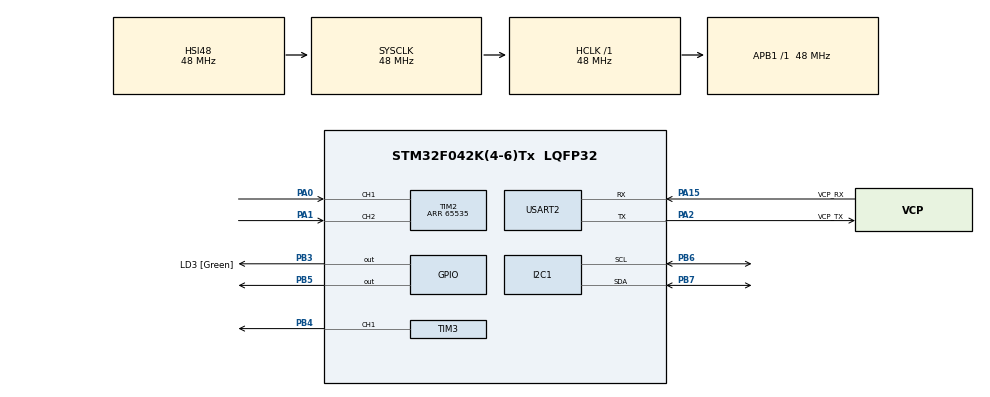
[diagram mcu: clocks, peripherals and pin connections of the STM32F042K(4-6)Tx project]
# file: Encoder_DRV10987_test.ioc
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Mcu.Family=STM32F0
Mcu.Name=STM32F042K(4-6)Tx
Mcu.Package=LQFP32
PA0.Signal=S_TIM2_CH1_ETR
PA1.Signal=S_TIM2_CH2
PA13.GPIO_Label=SWDIO
PA13.Mode=Serial_Wire
PA13.Signal=SYS_SWDIO
PA14.GPIO_Label=SWCLK
PA14.Mode=Serial_Wire
PA14.Signal=SYS_SWCLK
PA15.GPIO_Label=VCP_RX
PA15.Mode=Asynchronous
PA15.Signal=USART2_RX
PA2.GPIO_Label=VCP_TX
PA2.Mode=Asynchronous
PA2.Signal=USART2_TX
PB3.GPIO_Label=LD3 [Green]
PB3.Signal=GPIO_Output
PB4.Signal=S_TIM3_CH1
PB5.Signal=GPIO_Output
PB6.Mode=I2C
PB6.Signal=I2C1_SCL
PB7.Mode=I2C
PB7.Signal=I2C1_SDA
PF0-OSC_IN.GPIO_Label=MCO
PF0-OSC_IN.Mode=HSE-External-Clock-Source
PF0-OSC_IN.Signal=RCC_OSC_IN
ProjectManager.HeapSize=0x200
ProjectManager.StackSize=0x400
ProjectManager.TargetToolchain=SW4STM32
RCC.AHBFreq_Value=48000000
RCC.APB1Freq_Value=48000000
RCC.APB1TimFreq_Value=48000000
RCC.HCLKFreq_Value=48000000
RCC.SYSCLKFreq_VALUE=48000000
RCC.SYSCLKSource=RCC_SYSCLKSOURCE_HSI48
SH.S_TIM2_CH1_ETR.0=TIM2_CH1,Encoder_Interface
SH.S_TIM2_CH2.0=TIM2_CH2,Encoder_Interface
SH.S_TIM3_CH1.0=TIM3_CH1,PWM Generation1 CH1
TIM2.Period=65535
TIM3.Channel-PWM\ Generation1\ CH1=TIM_CHANNEL_1
TIM3.Period=4800
TIM3.Prescaler=0
USART2.VirtualMode-Asynchronous=VM_ASYNC
board=NUCLEO-F042K6

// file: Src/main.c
/* USER CODE BEGIN Header */
/**
  ******************************************************************************
  * @file           : main.c
  * @brief          : Main program body
  ******************************************************************************
  * @attention
  *
  * <h2><center>&copy; Copyright (c) 2019 STMicroelectronics.
  * All rights reserved.</center></h2>
  *
  * This software component is licensed by ST under BSD 3-Clause license,
  * the "License"; You may not use this file except in compliance with the
  * License. You may obtain a copy of the License at:
  *                        opensource.org/licenses/BSD-3-Clause
  *
  ******************************************************************************
  */
/* USER CODE END Header */

#include "main.h"
#include "DRV10987.h"

I2C_HandleTypeDef hi2c1;

TIM_HandleTypeDef htim2;
TIM_HandleTypeDef htim3;

UART_HandleTypeDef huart2;

/* USER CODE BEGIN PV */
uint8_t DRVI2Cadd = 0x52;
uint8_t DIEidadd=0x08;
uint8_t SupVadd=0x05;
uint8_t regBuf[16]={0};

uint8_t confBuf[14]={0};

//#define WORD16(v) ((v) & 0xFF), ((v) >> 8)
#define WORD16(v) ((v) >> 8), ((v) & 0xFF)

//uint8_t configVals[14]={//attempt at manual setup of Bullrunning motor; abandoned because iterating was too slow.
//		WORD16(0b0100000000000111),//Set Rm to 0.0388
//		WORD16(0b0000101000101111),//0x052F),//set Kt value to 0x0A 9mV/Hz - 1000mv/1700rpm/V/60*7PP, 150uS advance time
//		WORD16(0b0000100011011010),//1.6A current in open loop,0.7Vcc/s
//		WORD16(0b0010010010011011),//6.9Hz/s2, 9.2Hz/s, 51Hz open-closed loop ,0.67s align time
//		WORD16(0b1011111110101110),//1.6A on overtemp, all locks enabled, 2A SW limit, 2.8A HWlim
//		WORD16(0b1110110001000000),//PWM input, 50KhZ, 3/2Kt,1/2Ktlim, induc+mechAVS en, AVS-VCC, brk on indres, closed loop, 0.37VCC/s,5% min duty,35V/us
//		WORD16(0b0000000000100101),//Score control 0.5, Dead time 240nS Fill these in from the Datasheet
//
//};

//Configvals from AlexPS's DRV calculator at http://f0319644.xsph.ru/
uint8_t configVals[14]={//Bullrunning
		WORD16(0x169A),//
		WORD16(0x062A),//
		WORD16(0x00D0),//
		WORD16(0x09FB),//
		WORD16(0xBF7F),//
		WORD16(0xEC63),//
		WORD16(0x016A)};

//Propdrive1200
//uint8_t configVals[14]={//Propdrive 28-26 1200Kv
//
//		WORD16(0x159A),//
//		WORD16(0x092A),//
//		WORD16(0x00D0),//
//		WORD16(0x12FB),//
//		WORD16(0xBC7F),//
//		WORD16(0xAC63),//
//		WORD16(0x016A)};

uint8_t DIEid[2]={0};

///////////

/* USER CODE END PV */

void SystemClock_Config(void);
static void MX_GPIO_Init(void);
static void MX_I2C1_Init(void);
static void MX_TIM2_Init(void);
static void MX_TIM3_Init(void);
static void MX_USART2_UART_Init(void);

int main(void)
{

  /* MCU Configuration--------------------------------------------------------*/

  /* Reset of all peripherals, Initializes the Flash interface and the Systick. */
  HAL_Init();

  /* Configure the system clock */
  SystemClock_Config();

  /* Initialize all configured peripherals */
  MX_GPIO_Init();
  MX_I2C1_Init();
  MX_TIM2_Init();
  MX_TIM3_Init();
  MX_USART2_UART_Init();
  /* USER CODE BEGIN 2 */
HAL_TIM_PWM_Start(&htim3,TIM_CHANNEL_1);
__HAL_TIM_SET_COMPARE(&htim3,TIM_CHANNEL_1,2000);

configRegWrite(&hi2c1,configVals);
  /* USER CODE END 2 */

  /* Infinite loop */
  /* USER CODE BEGIN WHILE */
  while (1)
  {
	  HAL_UART_Transmit(&huart2,"Hello Wrld\r",13, 10);
	  if(HAL_I2C_IsDeviceReady(&hi2c1,(DRVI2Cadd<<1),1,10)==HAL_OK){
	  	  	                  HAL_UART_Transmit(&huart2,"DRV Ready\r",13, 10);

	  }

    /* USER CODE END WHILE */

HAL_Delay(500);
//HAL_I2C_Mem_Read(&hi2c1,(DRVI2Cadd<<1),DIEidadd,1,DIEid,2,1000);
    /* USER CODE BEGIN 3 */
statusRegRead( &hi2c1, regBuf );

  }
  /* USER CODE END 3 */
}

void SystemClock_Config(void)
{
  RCC_OscInitTypeDef RCC_OscInitStruct = {0};
  RCC_ClkInitTypeDef RCC_ClkInitStruct = {0};
  RCC_PeriphCLKInitTypeDef PeriphClkInit = {0};

  /** Initializes the CPU, AHB and APB busses clocks
  */
  RCC_OscInitStruct.OscillatorType = RCC_OSCILLATORTYPE_HSI|RCC_OSCILLATORTYPE_HSI48;
  RCC_OscInitStruct.HSIState = RCC_HSI_ON;
  RCC_OscInitStruct.HSI48State = RCC_HSI48_ON;
  RCC_OscInitStruct.HSICalibrationValue = RCC_HSICALIBRATION_DEFAULT;
  RCC_OscInitStruct.PLL.PLLState = RCC_PLL_NONE;
  if (HAL_RCC_OscConfig(&RCC_OscInitStruct) != HAL_OK)
  {
    Error_Handler();
  }
  /** Initializes the CPU, AHB and APB busses clocks
  */
  RCC_ClkInitStruct.ClockType = RCC_CLOCKTYPE_HCLK|RCC_CLOCKTYPE_SYSCLK
                              |RCC_CLOCKTYPE_PCLK1;
  RCC_ClkInitStruct.SYSCLKSource = RCC_SYSCLKSOURCE_HSI48;
  RCC_ClkInitStruct.AHBCLKDivider = RCC_SYSCLK_DIV1;
  RCC_ClkInitStruct.APB1CLKDivider = RCC_HCLK_DIV1;

  if (HAL_RCC_ClockConfig(&RCC_ClkInitStruct, FLASH_LATENCY_1) != HAL_OK)
  {
    Error_Handler();
  }
  PeriphClkInit.PeriphClockSelection = RCC_PERIPHCLK_I2C1;
  PeriphClkInit.I2c1ClockSelection = RCC_I2C1CLKSOURCE_HSI;
  if (HAL_RCCEx_PeriphCLKConfig(&PeriphClkInit) != HAL_OK)
  {
    Error_Handler();
  }
}

static void MX_I2C1_Init(void)
{

  hi2c1.Instance = I2C1;
  hi2c1.Init.Timing = 0x2000090E;
  hi2c1.Init.OwnAddress1 = 0;
  hi2c1.Init.AddressingMode = I2C_ADDRESSINGMODE_7BIT;
  hi2c1.Init.DualAddressMode = I2C_DUALADDRESS_DISABLE;
  hi2c1.Init.OwnAddress2 = 0;
  hi2c1.Init.OwnAddress2Masks = I2C_OA2_NOMASK;
  hi2c1.Init.GeneralCallMode = I2C_GENERALCALL_DISABLE;
  hi2c1.Init.NoStretchMode = I2C_NOSTRETCH_DISABLE;
  if (HAL_I2C_Init(&hi2c1) != HAL_OK)
  {
    Error_Handler();
  }
  /** Configure Analogue filter
  */
  if (HAL_I2CEx_ConfigAnalogFilter(&hi2c1, I2C_ANALOGFILTER_ENABLE) != HAL_OK)
  {
    Error_Handler();
  }
  /** Configure Digital filter
  */
  if (HAL_I2CEx_ConfigDigitalFilter(&hi2c1, 0) != HAL_OK)
  {
    Error_Handler();
  }

}

static void MX_TIM2_Init(void)
{

  TIM_Encoder_InitTypeDef sConfig = {0};
  TIM_MasterConfigTypeDef sMasterConfig = {0};

  htim2.Instance = TIM2;
  htim2.Init.Prescaler = 0;
  htim2.Init.CounterMode = TIM_COUNTERMODE_UP;
  htim2.Init.Period = 65535;
  htim2.Init.ClockDivision = TIM_CLOCKDIVISION_DIV1;
  htim2.Init.AutoReloadPreload = TIM_AUTORELOAD_PRELOAD_DISABLE;
  sConfig.EncoderMode = TIM_ENCODERMODE_TI1;
  sConfig.IC1Polarity = TIM_ICPOLARITY_RISING;
  sConfig.IC1Selection = TIM_ICSELECTION_DIRECTTI;
  sConfig.IC1Prescaler = TIM_ICPSC_DIV1;
  sConfig.IC1Filter = 0;
  sConfig.IC2Polarity = TIM_ICPOLARITY_RISING;
  sConfig.IC2Selection = TIM_ICSELECTION_DIRECTTI;
  sConfig.IC2Prescaler = TIM_ICPSC_DIV1;
  sConfig.IC2Filter = 0;
  if (HAL_TIM_Encoder_Init(&htim2, &sConfig) != HAL_OK)
  {
    Error_Handler();
  }
  sMasterConfig.MasterOutputTrigger = TIM_TRGO_RESET;
  sMasterConfig.MasterSlaveMode = TIM_MASTERSLAVEMODE_DISABLE;
  if (HAL_TIMEx_MasterConfigSynchronization(&htim2, &sMasterConfig) != HAL_OK)
  {
    Error_Handler();
  }

}

static void MX_TIM3_Init(void)
{

  TIM_MasterConfigTypeDef sMasterConfig = {0};
  TIM_OC_InitTypeDef sConfigOC = {0};

  htim3.Instance = TIM3;
  htim3.Init.Prescaler = 0;
  htim3.Init.CounterMode = TIM_COUNTERMODE_UP;
  htim3.Init.Period = 4800;
  htim3.Init.ClockDivision = TIM_CLOCKDIVISION_DIV1;
  htim3.Init.AutoReloadPreload = TIM_AUTORELOAD_PRELOAD_DISABLE;
  if (HAL_TIM_PWM_Init(&htim3) != HAL_OK)
  {
    Error_Handler();
  }
  sMasterConfig.MasterOutputTrigger = TIM_TRGO_RESET;
  sMasterConfig.MasterSlaveMode = TIM_MASTERSLAVEMODE_DISABLE;
  if (HAL_TIMEx_MasterConfigSynchronization(&htim3, &sMasterConfig) != HAL_OK)
  {
    Error_Handler();
  }
  sConfigOC.OCMode = TIM_OCMODE_PWM1;
  sConfigOC.Pulse = 0;
  sConfigOC.OCPolarity = TIM_OCPOLARITY_HIGH;
  sConfigOC.OCFastMode = TIM_OCFAST_DISABLE;
  if (HAL_TIM_PWM_ConfigChannel(&htim3, &sConfigOC, TIM_CHANNEL_1) != HAL_OK)
  {
    Error_Handler();
  }
  HAL_TIM_MspPostInit(&htim3);

}

static void MX_USART2_UART_Init(void)
{

  huart2.Instance = USART2;
  huart2.Init.BaudRate = 38400;
  huart2.Init.WordLength = UART_WORDLENGTH_8B;
  huart2.Init.StopBits = UART_STOPBITS_1;
  huart2.Init.Parity = UART_PARITY_NONE;
  huart2.Init.Mode = UART_MODE_TX_RX;
  huart2.Init.HwFlowCtl = UART_HWCONTROL_NONE;
  huart2.Init.OverSampling = UART_OVERSAMPLING_16;
  huart2.Init.OneBitSampling = UART_ONE_BIT_SAMPLE_DISABLE;
  huart2.AdvancedInit.AdvFeatureInit = UART_ADVFEATURE_NO_INIT;
  if (HAL_UART_Init(&huart2) != HAL_OK)
  {
    Error_Handler();
  }

}

static void MX_GPIO_Init(void)
{
  GPIO_InitTypeDef GPIO_InitStruct = {0};

  /* GPIO Ports Clock Enable */
  __HAL_RCC_GPIOF_CLK_ENABLE();
  __HAL_RCC_GPIOA_CLK_ENABLE();
  __HAL_RCC_GPIOB_CLK_ENABLE();

  /*Configure GPIO pin Output Level */
  HAL_GPIO_WritePin(GPIOB, LD3_Pin|GPIO_PIN_5, GPIO_PIN_RESET);

  /*Configure GPIO pins : LD3_Pin PB5 */
  GPIO_InitStruct.Pin = LD3_Pin|GPIO_PIN_5;
  GPIO_InitStruct.Mode = GPIO_MODE_OUTPUT_PP;
  GPIO_InitStruct.Pull = GPIO_NOPULL;
  GPIO_InitStruct.Speed = GPIO_SPEED_FREQ_LOW;
  HAL_GPIO_Init(GPIOB, &GPIO_InitStruct);

}

void Error_Handler(void)
{
}

/************************ (C) COPYRIGHT STMicroelectronics *****END OF FILE****/
